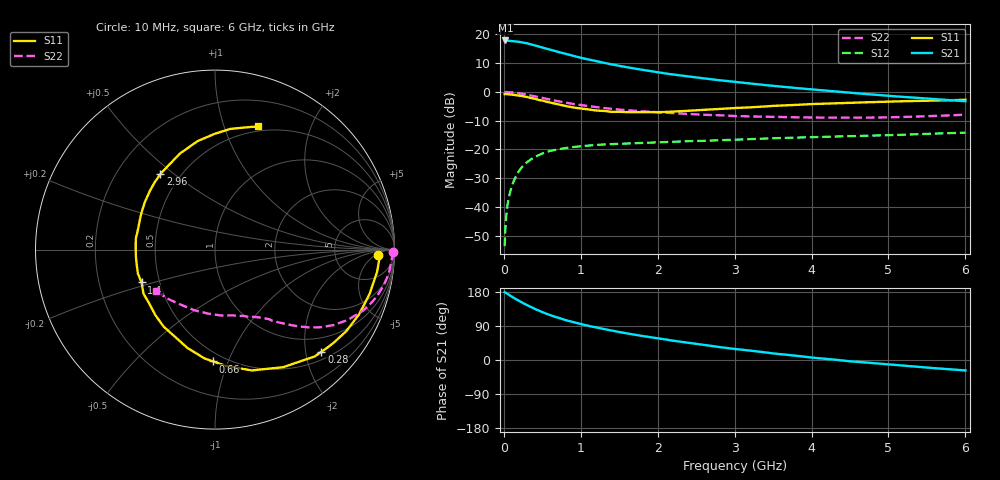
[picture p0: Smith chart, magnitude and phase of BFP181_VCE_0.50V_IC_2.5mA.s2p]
! Infineon Technologies  Discrete & RF Semiconductors
! BFP181
! VCE = 0.50V,  IC =  2.5 mA
! Common Emitter S-Parameters:  Jan 2016
# GHz  S  MA  R  50
!  f  S11  S21  S12  S22
! GHz  MAG  ANG  MAG  ANG  MAG  ANG  MAG  ANG
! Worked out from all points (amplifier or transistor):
!   210 points, 10 MHz to 6 GHz, reference 50 ohm
!   highest |S21| = 17.8 dB at 20 MHz (marker M1)
!   |S21| within 3 dB of that: start of sweep to 580.5 MHz
!   unconditionally stable (mu >= 1): 1.775 GHz to end of sweep
!   at 185 MHz: K = 0.14, MSG = 22.7 dB, |S12| = -28.0 dB
!   at 1.52 GHz: K = 0.89, MSG = 13.5 dB, |S12| = -18.0 dB
!   at 6 GHz: K = 1.35, MAG = 1.9 dB, |S12| = -14.2 dB
!   S11 on the Smith chart (normalised r, x): 10 MHz: 19, -6; 280 MHz: 0.66, -2.33; 660 MHz: 0.43, -0.89; 1.4 GHz: 0.40, -0.18; 2.96 GHz: 0.39, +0.45; 6 GHz: 0.45, +1.30
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0.01  0.9104 -1.8  7.72 179.0  0.0021 86.2  0.9895 -0.7
0.02  0.9169 -3.4  7.769 178.1  0.0042 90.5  0.9907 -1.6
0.05  0.9116 -7.8  7.727 173.9  0.0114 86.8  0.9838 -4.1
0.1  0.8961 -16.0  7.572 167.8  0.0221 79.1  0.9775 -8.0
0.15  0.8801 -24.2  7.509 161.5  0.0326 75.4  0.9611 -11.9
0.2  0.8615 -31.7  7.353 155.8  0.0428 70.8  0.9412 -15.7
0.28  0.8219 -43.8  7.011 147.1  0.0567 64.4  0.9029 -21.0
0.4  0.7573 -59.9  6.412 134.8  0.0739 56.0  0.8371 -27.9
0.5  0.704 -73.0  5.855 126.1  0.085 49.8  0.784 -32.4
0.6  0.6523 -84.4  5.424 118.3  0.0942 45.1  0.7338 -36.1
0.66  0.6235 -90.9  5.121 114.4  0.0978 42.3  0.7058 -37.9
0.8  0.5693 -105.6  4.58 105.3  0.1055 37.3  0.6492 -41.5
1.02  0.5105 -125.3  3.838 94.0  0.1141 31.4  0.5829 -45.7
1.2  0.474 -140.3  3.39 85.9  0.12 27.7  0.5424 -48.6
1.4  0.448 -155.9  2.988 77.8  0.1238 24.9  0.5065 -51.3
1.72  0.442 -177.0  2.505 66.1  0.1286 21.9  0.4657 -54.9
2.02  0.4435 165.5  2.157 56.6  0.1336 19.8  0.4406 -58.7
2.96  0.5183 125.9  1.508 30.2  0.1466 14.7  0.3826 -73.8
3.1  0.5289 121.5  1.44 27.1  0.1489 14.1  0.3769 -76.5
4.1  0.6177 97.2  1.071 4.7  0.1649 9.2  0.3569 -98.9
5.1  0.681 81.6  0.832 -13.4  0.1782 4.9  0.3627 -123.6
6  0.726 70.9  0.686 -27.6  0.1952 0.6  0.4009 -144.4
